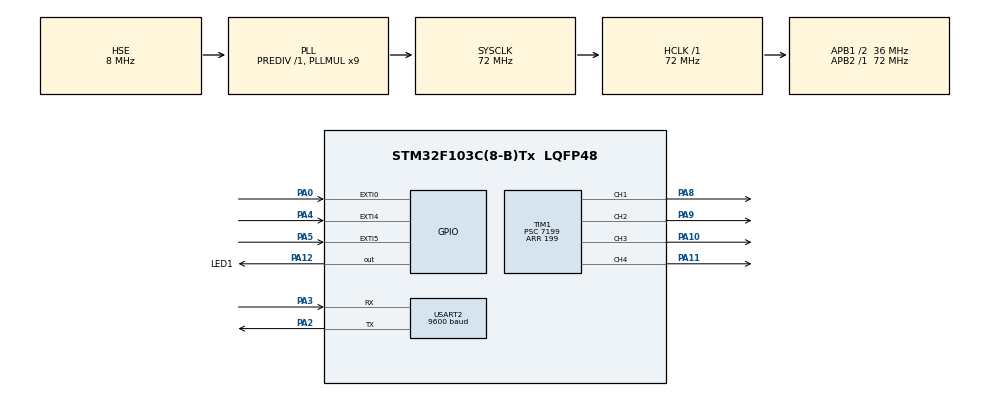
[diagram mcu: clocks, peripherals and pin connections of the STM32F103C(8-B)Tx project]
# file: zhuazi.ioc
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Dma.Request0=USART2_RX
Dma.Request1=USART2_TX
Dma.USART2_RX.0.Direction=DMA_PERIPH_TO_MEMORY
Dma.USART2_RX.0.Instance=DMA1_Channel6
Dma.USART2_RX.0.MemDataAlignment=DMA_MDATAALIGN_BYTE
Dma.USART2_RX.0.MemInc=DMA_MINC_ENABLE
Dma.USART2_RX.0.Mode=DMA_CIRCULAR
Dma.USART2_RX.0.PeriphDataAlignment=DMA_PDATAALIGN_BYTE
Dma.USART2_RX.0.PeriphInc=DMA_PINC_DISABLE
Dma.USART2_RX.0.Priority=DMA_PRIORITY_LOW
Dma.USART2_TX.1.Direction=DMA_MEMORY_TO_PERIPH
Dma.USART2_TX.1.Instance=DMA1_Channel7
Dma.USART2_TX.1.MemDataAlignment=DMA_MDATAALIGN_BYTE
Dma.USART2_TX.1.MemInc=DMA_MINC_ENABLE
Dma.USART2_TX.1.Mode=DMA_NORMAL
Dma.USART2_TX.1.PeriphDataAlignment=DMA_PDATAALIGN_BYTE
Dma.USART2_TX.1.PeriphInc=DMA_PINC_DISABLE
Dma.USART2_TX.1.Priority=DMA_PRIORITY_LOW
Mcu.Family=STM32F1
Mcu.Name=STM32F103C(8-B)Tx
Mcu.Package=LQFP48
NVIC.DMA1_Channel6_IRQn=true\:0\:0\:true\:false\:true\:false\:true
NVIC.DMA1_Channel7_IRQn=true\:0\:0\:false\:false\:true\:false\:true
NVIC.EXTI0_IRQn=true\:1\:0\:true\:false\:true\:true\:true
NVIC.EXTI4_IRQn=true\:1\:0\:true\:false\:true\:true\:true
NVIC.EXTI9_5_IRQn=true\:1\:0\:true\:false\:true\:true\:true
NVIC.PriorityGroup=NVIC_PRIORITYGROUP_4
NVIC.TIM4_IRQn=true\:0\:0\:false\:false\:true\:false\:true
NVIC.TimeBase=TIM4_IRQn
NVIC.TimeBaseIP=TIM4
NVIC.USART2_IRQn=true\:2\:0\:true\:false\:true\:true\:true
PA0-WKUP.Signal=GPXTI0
PA10.Signal=S_TIM1_CH3
PA11.Signal=S_TIM1_CH4
PA12.GPIO_Label=LED1
PA12.Signal=GPIO_Output
PA13.Mode=Serial_Wire
PA13.Signal=SYS_JTMS-SWDIO
PA14.Mode=Serial_Wire
PA14.Signal=SYS_JTCK-SWCLK
PA2.Mode=Asynchronous
PA2.Signal=USART2_TX
PA3.Mode=Asynchronous
PA3.Signal=USART2_RX
PA4.Signal=GPXTI4
PA5.Signal=GPXTI5
PA8.Signal=S_TIM1_CH1
PA9.Signal=S_TIM1_CH2
PD0-OSC_IN.Mode=HSE-External-Oscillator
PD0-OSC_IN.Signal=RCC_OSC_IN
PD1-OSC_OUT.Mode=HSE-External-Oscillator
PD1-OSC_OUT.Signal=RCC_OSC_OUT
ProjectManager.HeapSize=0x200
ProjectManager.StackSize=0x400
ProjectManager.TargetToolchain=MDK-ARM V5
RCC.AHBFreq_Value=72000000
RCC.APB1CLKDivider=RCC_HCLK_DIV2
RCC.APB1Freq_Value=36000000
RCC.APB1TimFreq_Value=72000000
RCC.APB2Freq_Value=72000000
RCC.APB2TimFreq_Value=72000000
RCC.HCLKFreq_Value=72000000
RCC.PLLMUL=RCC_PLL_MUL9
RCC.PLLSourceVirtual=RCC_PLLSOURCE_HSE
RCC.SYSCLKFreq_VALUE=72000000
RCC.SYSCLKSource=RCC_SYSCLKSOURCE_PLLCLK
RCC.USBFreq_Value=72000000
SH.S_TIM1_CH1.0=TIM1_CH1,PWM Generation1 CH1
SH.S_TIM1_CH2.0=TIM1_CH2,PWM Generation2 CH2
SH.S_TIM1_CH3.0=TIM1_CH3,PWM Generation3 CH3
SH.S_TIM1_CH4.0=TIM1_CH4,PWM Generation4 CH4
TIM1.Channel-PWM\ Generation1\ CH1=TIM_CHANNEL_1
TIM1.Channel-PWM\ Generation2\ CH2=TIM_CHANNEL_2
TIM1.Channel-PWM\ Generation3\ CH3=TIM_CHANNEL_3
TIM1.Channel-PWM\ Generation4\ CH4=TIM_CHANNEL_4
TIM1.Period=199
TIM1.Prescaler=7199
TIM2.Period=65535
TIM2.Prescaler=71
USART2.BaudRate=9600
USART2.VirtualMode=VM_ASYNC
VP_SYS_VS_tim4.Mode=TIM4
VP_TIM1_VS_ClockSourceINT.Mode=Internal
VP_TIM2_VS_ClockSourceINT.Mode=Internal
board=custom

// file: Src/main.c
/* USER CODE BEGIN Header */
/**
  ******************************************************************************
  * @file           : main.c
  * @brief          : Main program body
  ******************************************************************************
  * @attention
  *
  * <h2><center>&copy; Copyright (c) 2022 STMicroelectronics.
  * All rights reserved.</center></h2>
  *
  * This software component is licensed by ST under BSD 3-Clause license,
  * the "License"; You may not use this file except in compliance with the
  * License. You may obtain a copy of the License at:
  *                        opensource.org/licenses/BSD-3-Clause
  *
  ******************************************************************************
  */
/* USER CODE END Header */

#include "main.h"
#include "dma.h"
#include "tim.h"
#include "usart.h"
#include "gpio.h"

/* USER CODE BEGIN Includes */
#include "choose.h"
#include "put.h"
#include "exit.h"
#include "Delay.h"
/* USER CODE END Includes */

/* USER CODE BEGIN PV */
//int count_left, count_mid, count_right;
uint8_t led_left_on ='0';
uint8_t led_left_off ='1';
uint8_t led_mid_on ='2';
uint8_t led_mid_off ='3';
uint8_t led_right_on ='4';
uint8_t led_right_off ='5';
//uint8_t Rxbuf;
/* USER CODE END PV */

void SystemClock_Config(void);

int main(void)
{

  /* MCU Configuration--------------------------------------------------------*/

  /* Reset of all peripherals, Initializes the Flash interface and the Systick. */
  HAL_Init();

  /* Configure the system clock */
  SystemClock_Config();

  /* Initialize all configured peripherals */
  MX_GPIO_Init();
  MX_DMA_Init();
  MX_TIM1_Init();
  MX_TIM2_Init();
  MX_USART2_UART_Init();
  /* USER CODE BEGIN 2 */
  HAL_TIM_Base_Start_IT((TIM_HandleTypeDef *)&htim1);
  HAL_UART_Receive_IT(&huart2,&Rxbuf,1);     //开启中断
  HAL_TIM_PWM_Start((TIM_HandleTypeDef *)&htim1, (uint32_t) TIM_CHANNEL_1);
  HAL_TIM_PWM_Start((TIM_HandleTypeDef *)&htim1, (uint32_t) TIM_CHANNEL_2);
  HAL_TIM_PWM_Start((TIM_HandleTypeDef *)&htim1, (uint32_t) TIM_CHANNEL_3);
  /* USER CODE END 2 */

  /* Infinite loop */
  while (1)
  {

    /* USER CODE BEGIN 3 */
//            __HAL_TIM_SetCompare (&htim1, TIM_CHANNEL_2, 21);
//            HAL_Delay(100);
//	  HAL_GPIO_WritePin(LED1_GPIO_Port,LED1_Pin,GPIO_PIN_SET);
  }
  /* USER CODE END 3 */
}

void SystemClock_Config(void)
{
  RCC_OscInitTypeDef RCC_OscInitStruct = {0};
  RCC_ClkInitTypeDef RCC_ClkInitStruct = {0};

  /** Initializes the CPU, AHB and APB busses clocks
  */
  RCC_OscInitStruct.OscillatorType = RCC_OSCILLATORTYPE_HSE;
  RCC_OscInitStruct.HSEState = RCC_HSE_ON;
  RCC_OscInitStruct.HSEPredivValue = RCC_HSE_PREDIV_DIV1;
  RCC_OscInitStruct.HSIState = RCC_HSI_ON;
  RCC_OscInitStruct.PLL.PLLState = RCC_PLL_ON;
  RCC_OscInitStruct.PLL.PLLSource = RCC_PLLSOURCE_HSE;
  RCC_OscInitStruct.PLL.PLLMUL = RCC_PLL_MUL9;
  if (HAL_RCC_OscConfig(&RCC_OscInitStruct) != HAL_OK)
  {
    Error_Handler();
  }
  /** Initializes the CPU, AHB and APB busses clocks
  */
  RCC_ClkInitStruct.ClockType = RCC_CLOCKTYPE_HCLK|RCC_CLOCKTYPE_SYSCLK
                              |RCC_CLOCKTYPE_PCLK1|RCC_CLOCKTYPE_PCLK2;
  RCC_ClkInitStruct.SYSCLKSource = RCC_SYSCLKSOURCE_PLLCLK;
  RCC_ClkInitStruct.AHBCLKDivider = RCC_SYSCLK_DIV1;
  RCC_ClkInitStruct.APB1CLKDivider = RCC_HCLK_DIV2;
  RCC_ClkInitStruct.APB2CLKDivider = RCC_HCLK_DIV1;

  if (HAL_RCC_ClockConfig(&RCC_ClkInitStruct, FLASH_LATENCY_2) != HAL_OK)
  {
    Error_Handler();
  }
}

/* USER CODE BEGIN 4 */
//void HAL_GPIO_EXTI_Callback(uint16_t GPIO_Pin)
//{
//
//	delay_ms(30);
////	HAL_Delay(20);
//	HAL_GPIO_TogglePin(LED1_GPIO_Port,LED1_Pin);
//	if(GPIO_Pin == GPIO_PIN_0){
//		count_left++;
//		if(count_left%2!=0){
//		   __HAL_TIM_SetCompare (&htim1,TIM_CHANNEL_1,5);
//		//	    delay_ms(100);
//				HAL_Delay(100);
//		}
//		else {
//			  __HAL_TIM_SetCompare (&htim1,TIM_CHANNEL_1,20);
//				HAL_Delay(100);
//		}
//	}
//	if(GPIO_Pin == GPIO_PIN_4){
//		count_mid++;
//		if(count_mid%2!=0){
//		   __HAL_TIM_SetCompare (&htim1,TIM_CHANNEL_2,5);
//		//	    delay_ms(100);
//				HAL_Delay(100);
//		}
//		else {
//			  __HAL_TIM_SetCompare (&htim1,TIM_CHANNEL_2,20);
//				HAL_Delay(100);
//		}
//	}
//	if(GPIO_Pin == GPIO_PIN_5){
//		count_right++;
//		if(count_right%2!=0){
//		   __HAL_TIM_SetCompare (&htim1,TIM_CHANNEL_3,5);
//		//	    delay_ms(100);
//				HAL_Delay(100);
//		}
//		else {
//			  __HAL_TIM_SetCompare (&htim1,TIM_CHANNEL_3,20);
//				HAL_Delay(100);
//		}
//	}
//}

//void HAL_UART_RxCpltCallback(UART_HandleTypeDef *huart)
//{
//	if(huart->Instance == USART2)
//	{
//		if(Rxbuf == led_left_on){
//			count_left++;
//			HAL_GPIO_WritePin(LED1_GPIO_Port,LED1_Pin,GPIO_PIN_RESET);
//			__HAL_TIM_SetCompare (&htim1,TIM_CHANNEL_1,20);
//			HAL_Delay(100);
//		}else if(Rxbuf == led_left_off){
//			HAL_GPIO_WritePin(LED1_GPIO_Port,LED1_Pin,GPIO_PIN_SET);
//			__HAL_TIM_SetCompare (&htim1,TIM_CHANNEL_1,5);
//			HAL_Delay(100);
//		}
//		if(Rxbuf == led_mid_on){
//			count_mid++;
//			HAL_GPIO_WritePin(LED1_GPIO_Port,LED1_Pin,GPIO_PIN_RESET);
//			__HAL_TIM_SetCompare (&htim1,TIM_CHANNEL_2,20);
//			HAL_Delay(100);
//		}else if(Rxbuf == led_mid_off){
//			HAL_GPIO_WritePin(LED1_GPIO_Port,LED1_Pin,GPIO_PIN_SET);
//			__HAL_TIM_SetCompare (&htim1,TIM_CHANNEL_2,5);
//			HAL_Delay(100);
//		}
//		if(Rxbuf == led_right_on){
//			count_right++;
//			HAL_GPIO_WritePin(LED1_GPIO_Port,LED1_Pin,GPIO_PIN_RESET);
//			__HAL_TIM_SetCompare (&htim1,TIM_CHANNEL_3,20);
//			HAL_Delay(100);
//		}else if(Rxbuf == led_right_off){
//			HAL_GPIO_WritePin(LED1_GPIO_Port,LED1_Pin,GPIO_PIN_SET);
//			__HAL_TIM_SetCompare (&htim1,TIM_CHANNEL_3,5);
//			HAL_Delay(100);
//		}
//		HAL_UART_Receive_IT(&huart2,&Rxbuf,1);
//	}
//}
/* USER CODE END 4 */

void HAL_TIM_PeriodElapsedCallback(TIM_HandleTypeDef *htim)
{
  if (htim->Instance == TIM4) {
    HAL_IncTick();
  }
}

void Error_Handler(void)
{
}

/************************ (C) COPYRIGHT STMicroelectronics *****END OF FILE****/
